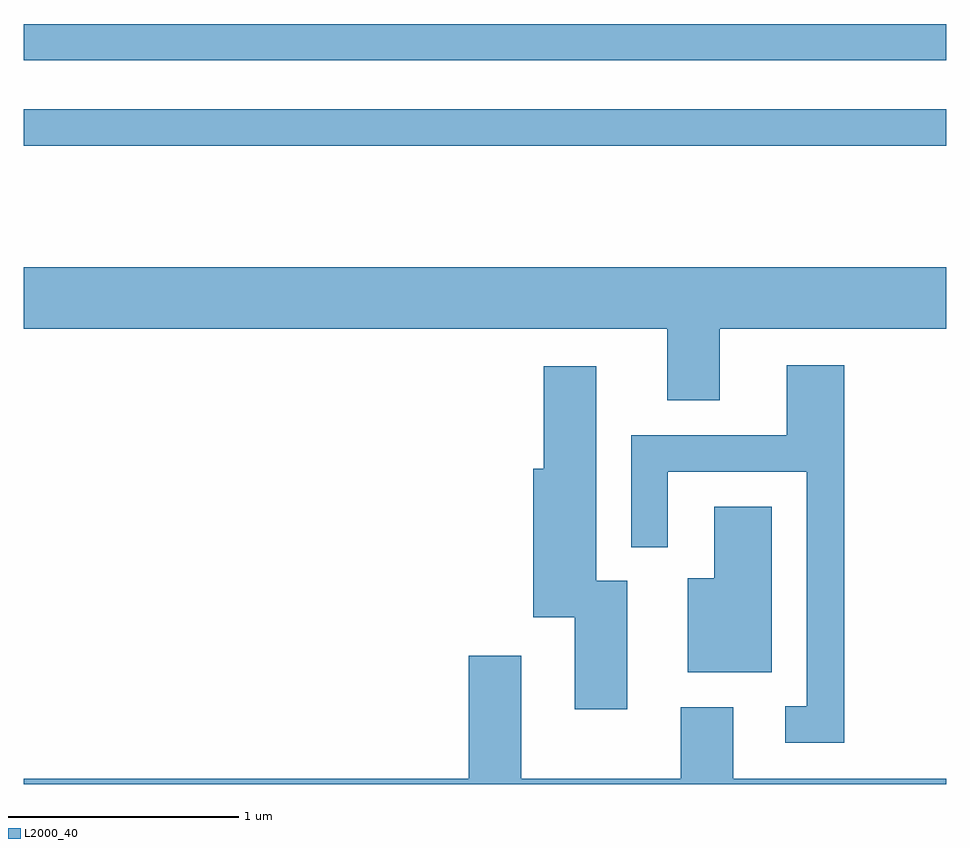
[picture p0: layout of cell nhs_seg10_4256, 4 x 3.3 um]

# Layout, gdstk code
import gdstk
lib = gdstk.Library(unit=1e-6, precision=1e-09)
def R(c, l, rs):  # rectangles x0, y0, x1, y1
    for r in rs: c.add(gdstk.rectangle(r[:2], r[2:], *l))
def P(c, l, *ps):  # polygons
    for p in ps: c.add(gdstk.Polygon(p, *l))
L2000_40 = (2000, 40)

nhs_seg10_4256 = lib.new_cell('nhs_seg10_4256')
R(nhs_seg10_4256, L2000_40, [(309.611,2201.291,313.611,2201.449), (309.611,2201.661,313.611,2201.819)])
P(nhs_seg10_4256, L2000_40, [(312.629,2200.496),(313.611,2200.496),(313.611,2200.764),(309.611,2200.764),(309.611,2200.496),(312.401,2200.496),(312.401,2200.186),(312.629,2200.186)],
  [(313.169,2200.339),(312.921,2200.339),(312.921,2200.034),(312.246,2200.034),(312.246,2199.548),(312.404,2199.548),(312.404,2199.876),(313.006,2199.876),(313.006,2198.859),(312.913,2198.859),(312.913,2198.701),(313.169,2198.701)],
  [(312.229,2199.404),(312.094,2199.404),(312.094,2200.334),(311.866,2200.334),(311.866,2199.889),(311.821,2199.889),(311.821,2199.246),(312.001,2199.246),(312.001,2198.846),(312.229,2198.846)],
  [(312.854,2199.724),(312.606,2199.724),(312.606,2199.414),(312.491,2199.414),(312.491,2199.006),(312.854,2199.006)],
  [(313.611,2198.544),(312.689,2198.544),(312.689,2198.854),(312.461,2198.854),(312.461,2198.544),(311.769,2198.544),(311.769,2199.079),(311.541,2199.079),(311.541,2198.544),(309.611,2198.544),(309.611,2198.522),(313.611,2198.522)])

lib.write_gds('nhs_seg10_4256.gds')
